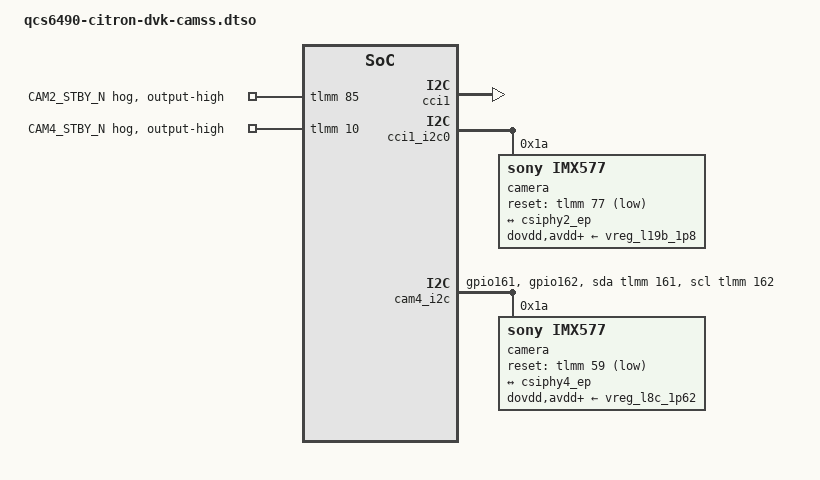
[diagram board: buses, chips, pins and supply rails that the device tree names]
// SPDX-License-Identifier: BSD-3-Clause
/*
 * Mainline CAMSS + libcamera pipeline for the Citron DVK. CSI0/CSI1 come from the
 * shared dtsi; the DVK adds CSI2 and CSI4. CSI3 is unpopulated.
 *
 *   conn  sensor  CSIPHY  I2C bus             addr  MCLK  RST  STBY
 *   CSI2  IMX577  2       cci1_i2c0 (73/74)   0x1a  66    77   85
 *   CSI4  IMX577  4       i2c-gpio (161/162)  0x1a  68    59   10
 */

/dts-v1/;
/plugin/;

#include <dt-bindings/clock/qcom,camcc-sc7280.h>
#include <dt-bindings/gpio/gpio.h>

#include "qcs6490-citron-camss.dtsi"

&camss {
	ports {
		port@2 {
			reg = <2>;

			csiphy2_ep: endpoint {
				clock-lanes = <7>;
				data-lanes = <0 1 2 3>;
				remote-endpoint = <&imx577_2_ep>;
			};
		};

		port@4 {
			reg = <4>;

			csiphy4_ep: endpoint {
				clock-lanes = <7>;
				data-lanes = <0 1 2 3>;
				remote-endpoint = <&imx577_4_ep>;
			};
		};
	};
};

/* Narrowed to bus 0: the stock state also muxes gpio75/76 for unpopulated CSI3. */
&cci1 {
	pinctrl-0 = <&cci2_default>;
	pinctrl-1 = <&cci2_sleep>;
	status = "okay";
};

&cci1_i2c0 {
	#address-cells = <1>;
	#size-cells = <0>;

	camera@1a {
		compatible = "sony,imx577";
		reg = <0x1a>;

		reset-gpios = <&tlmm 77 GPIO_ACTIVE_LOW>;
		pinctrl-names = "default", "suspend";
		pinctrl-0 = <&cam2_default>;
		pinctrl-1 = <&cam2_suspend>;

		clocks = <&camcc CAM_CC_MCLK2_CLK>;
		assigned-clocks = <&camcc CAM_CC_MCLK2_CLK>;
		assigned-clock-rates = <24000000>;

		dovdd-supply = <&vreg_l19b_1p8>;
		avdd-supply = <&vreg_l19b_1p8>;
		dvdd-supply = <&vreg_l19b_1p8>;

		port {
			imx577_2_ep: endpoint {
				link-frequencies = /bits/ 64 <600000000>;
				data-lanes = <1 2 3 4>;
				remote-endpoint = <&csiphy2_ep>;
			};
		};
	};
};

/* Bit-banged: GPIO161/162 have no CCI or QUP function. delay-us 5 is ~100 kHz. */
&{/} {
	cam4_i2c: i2c-cam4 {
		compatible = "i2c-gpio";
		sda-gpios = <&tlmm 161 (GPIO_ACTIVE_HIGH | GPIO_OPEN_DRAIN)>;
		scl-gpios = <&tlmm 162 (GPIO_ACTIVE_HIGH | GPIO_OPEN_DRAIN)>;
		i2c-gpio,delay-us = <5>;

		#address-cells = <1>;
		#size-cells = <0>;

		pinctrl-names = "default";
		pinctrl-0 = <&cam4_i2c_state>;

		camera@1a {
			compatible = "sony,imx577";
			reg = <0x1a>;

			reset-gpios = <&tlmm 59 GPIO_ACTIVE_LOW>;
			pinctrl-names = "default", "suspend";
			pinctrl-0 = <&cam4_default>;
			pinctrl-1 = <&cam4_suspend>;

			clocks = <&camcc CAM_CC_MCLK4_CLK>;
			assigned-clocks = <&camcc CAM_CC_MCLK4_CLK>;
			assigned-clock-rates = <24000000>;

			dovdd-supply = <&vreg_l8c_1p62>;
			avdd-supply = <&vreg_l8c_1p62>;
			dvdd-supply = <&vreg_l8c_1p62>;

			port {
				imx577_4_ep: endpoint {
					link-frequencies = /bits/ 64 <600000000>;
					data-lanes = <1 2 3 4>;
					remote-endpoint = <&csiphy4_ep>;
				};
			};
		};
	};
};

&tlmm {
	cam2_default: cam2-default-state {
		mclk-pins {
			pins = "gpio66";
			function = "cam_mclk";
			drive-strength = <2>;
			bias-disable;
		};

		rst-pins {
			pins = "gpio77";
			function = "gpio";
			drive-strength = <2>;
			bias-disable;
		};
	};

	cam2_suspend: cam2-suspend-state {
		mclk-pins {
			pins = "gpio66";
			function = "cam_mclk";
			drive-strength = <2>;
			bias-pull-down;
		};

		rst-pins {
			pins = "gpio77";
			function = "gpio";
			drive-strength = <2>;
			bias-disable;
		};
	};

	cam2_pwdn_hog: cam2-pwdn-hog {
		gpio-hog;
		gpios = <85 GPIO_ACTIVE_HIGH>;
		output-high;
		line-name = "CAM2_STBY_N";
	};

	cam4_default: cam4-default-state {
		mclk-pins {
			pins = "gpio68";
			function = "cam_mclk";
			drive-strength = <2>;
			bias-disable;
		};

		rst-pins {
			pins = "gpio59";
			function = "gpio";
			drive-strength = <2>;
			bias-disable;
		};
	};

	cam4_suspend: cam4-suspend-state {
		mclk-pins {
			pins = "gpio68";
			function = "cam_mclk";
			drive-strength = <2>;
			bias-pull-down;
		};

		rst-pins {
			pins = "gpio59";
			function = "gpio";
			drive-strength = <2>;
			bias-disable;
		};
	};

	cam4_pwdn_hog: cam4-pwdn-hog {
		gpio-hog;
		gpios = <10 GPIO_ACTIVE_HIGH>;
		output-high;
		line-name = "CAM4_STBY_N";
	};

	cam4_i2c_state: cam4-i2c-state {
		pins = "gpio161", "gpio162";
		function = "gpio";
		drive-strength = <2>;
		bias-pull-up;
	};
};
